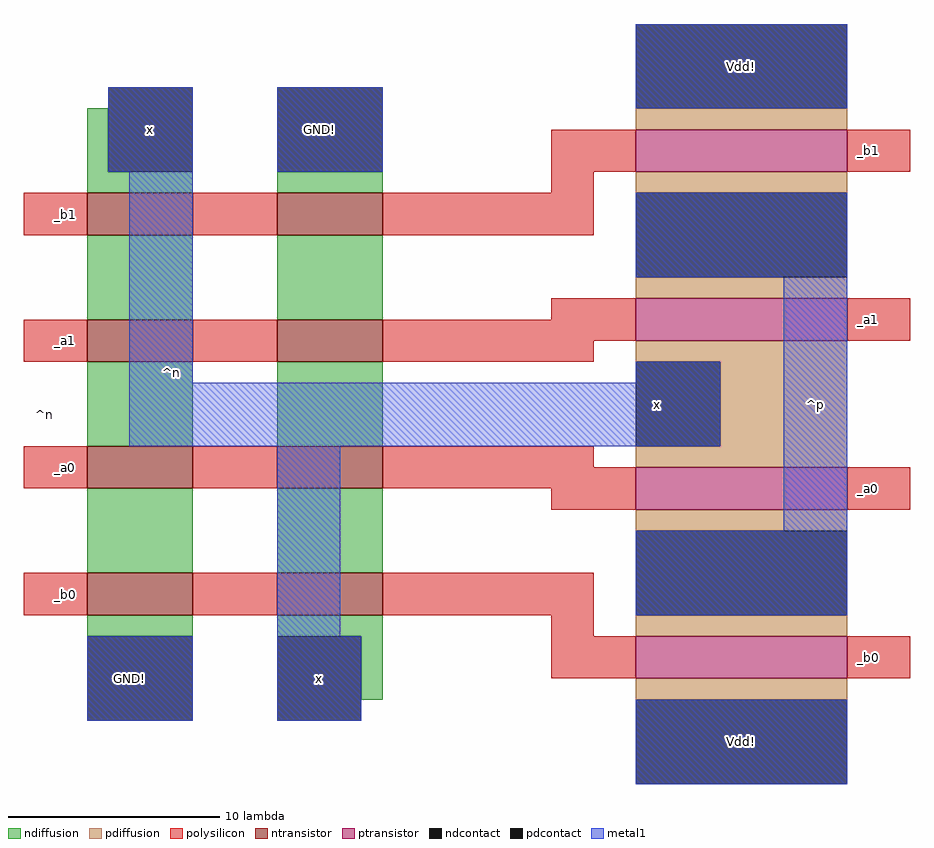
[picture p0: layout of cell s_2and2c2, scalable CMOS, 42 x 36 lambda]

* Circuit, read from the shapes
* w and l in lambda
.subckt s_2and2c2 GND! Vdd! _a0 _a1 _b0 _b1 x
M1 n1 _b0 GND! VSUBS nfet w=5 l=2
M2 n2 _a0 n1 VSUBS nfet w=5 l=2
M3 n3 _a1 n2 VSUBS nfet w=5 l=2
M4 x _b1 n3 VSUBS nfet w=5 l=2
M5 n4 _b0 x VSUBS nfet w=5 l=2
M6 n5 _a0 n4 VSUBS nfet w=5 l=2
M7 n6 _a1 n5 VSUBS nfet w=5 l=2
M8 GND! _b1 n6 VSUBS nfet w=5 l=2
M9 n7 _b0 Vdd! NWELL pfet w=10 l=2
M10 x _a0 n7 NWELL pfet w=10 l=2
M11 n7 _a1 x NWELL pfet w=10 l=2
M12 Vdd! _b1 n7 NWELL pfet w=10 l=2
.ends

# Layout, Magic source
magic
tech scmos
<< ndiffusion >>
rect -45 128 -44 131
rect -45 127 -40 128
rect -36 127 -31 128
rect -45 121 -40 125
rect -36 121 -31 125
rect -45 115 -40 119
rect -36 115 -31 119
rect -45 109 -40 113
rect -36 109 -31 113
rect -45 106 -40 107
rect -36 106 -31 107
rect -32 103 -31 106
<< pdiffusion >>
rect -19 130 -9 131
rect -19 127 -9 128
rect -19 122 -9 123
rect -19 119 -9 120
rect -15 115 -9 119
rect -19 114 -9 115
rect -19 111 -9 112
rect -19 106 -9 107
rect -19 103 -9 104
<< ntransistor >>
rect -45 125 -40 127
rect -36 125 -31 127
rect -45 119 -40 121
rect -36 119 -31 121
rect -45 113 -40 115
rect -36 113 -31 115
rect -45 107 -40 109
rect -36 107 -31 109
<< ptransistor >>
rect -19 128 -9 130
rect -19 120 -9 122
rect -19 112 -9 114
rect -19 104 -9 106
<< polysilicon >>
rect -23 128 -19 130
rect -9 128 -6 130
rect -23 127 -21 128
rect -48 125 -45 127
rect -40 125 -36 127
rect -31 125 -21 127
rect -23 121 -19 122
rect -48 119 -45 121
rect -40 119 -36 121
rect -31 120 -19 121
rect -9 120 -6 122
rect -31 119 -21 120
rect -48 113 -45 115
rect -40 113 -36 115
rect -31 114 -21 115
rect -31 113 -19 114
rect -23 112 -19 113
rect -9 112 -6 114
rect -48 107 -45 109
rect -40 107 -36 109
rect -31 107 -21 109
rect -23 106 -21 107
rect -23 104 -19 106
rect -9 104 -6 106
<< ndcontact >>
rect -44 128 -40 132
rect -36 128 -31 132
rect -45 102 -40 106
rect -36 102 -32 106
<< pdcontact >>
rect -19 131 -9 135
rect -19 123 -9 127
rect -19 115 -15 119
rect -19 107 -9 111
rect -19 99 -9 103
<< metal1 >>
rect -44 128 -40 132
rect -36 128 -31 132
rect -19 131 -9 135
rect -43 118 -40 128
rect -19 123 -9 127
rect -19 118 -15 119
rect -43 115 -15 118
rect -36 106 -33 115
rect -12 111 -9 123
rect -19 107 -9 111
rect -45 102 -40 106
rect -36 102 -32 106
rect -19 99 -9 103
<< labels >>
rlabel polysilicon -8 113 -8 113 7 _a0
rlabel polysilicon -8 121 -8 121 7 _a1
rlabel polysilicon -8 105 -8 105 7 _b0
rlabel polysilicon -8 129 -8 129 7 _b1
rlabel polysilicon -46 108 -46 108 7 _b0
rlabel polysilicon -46 114 -46 114 7 _a0
rlabel polysilicon -46 120 -46 120 7 _a1
rlabel polysilicon -46 126 -46 126 7 _b1
rlabel space -49 102 -45 131 7 ^n
rlabel space -50 101 -32 136 7 ^n
rlabel space -16 98 -5 136 3 ^p
rlabel pdcontact -14 133 -14 133 5 Vdd!
rlabel pdcontact -14 101 -14 101 5 Vdd!
rlabel ndcontact -34 104 -34 104 1 x
rlabel ndcontact -42 130 -42 130 5 x
rlabel ndcontact -43 104 -43 104 2 GND!
rlabel pdcontact -18 117 -18 117 1 x
rlabel ndcontact -34 130 -34 130 6 GND!
<< end >>
